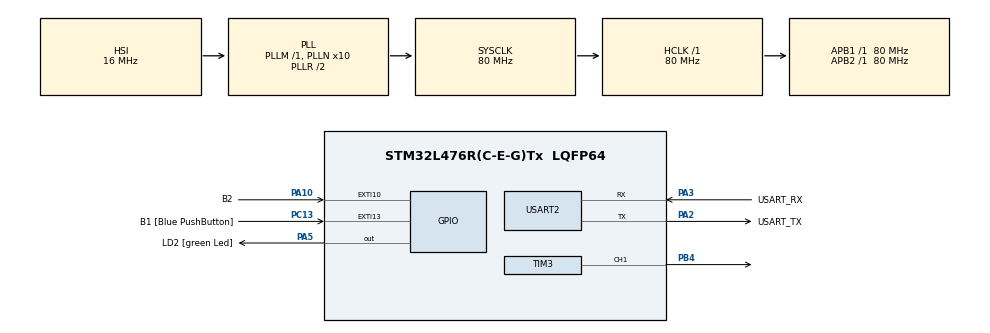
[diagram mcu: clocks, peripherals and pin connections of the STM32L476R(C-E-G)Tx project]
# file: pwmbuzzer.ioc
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Mcu.Family=STM32L4
Mcu.Name=STM32L476R(C-E-G)Tx
Mcu.Package=LQFP64
NVIC.EXTI15_10_IRQn=true\:0\:0\:false\:false\:true\:true\:true\:true
NVIC.PriorityGroup=NVIC_PRIORITYGROUP_4
NVIC.TIM6_DAC_IRQn=true\:0\:0\:false\:false\:true\:true\:true\:true
NVIC.USART2_IRQn=true\:0\:0\:false\:false\:true\:true\:true\:true
PA10.GPIO_Label=B2
PA10.Signal=GPXTI10
PA13\ (JTMS-SWDIO).GPIO_Label=TMS
PA13\ (JTMS-SWDIO).Mode=Serial_Wire
PA13\ (JTMS-SWDIO).Signal=SYS_JTMS-SWDIO
PA14\ (JTCK-SWCLK).GPIO_Label=TCK
PA14\ (JTCK-SWCLK).Mode=Serial_Wire
PA14\ (JTCK-SWCLK).Signal=SYS_JTCK-SWCLK
PA2.GPIO_Label=USART_TX
PA2.GPIO_Mode=GPIO_MODE_AF_PP
PA2.GPIO_PuPd=GPIO_NOPULL
PA2.GPIO_Speed=GPIO_SPEED_FREQ_VERY_HIGH
PA2.Mode=Asynchronous
PA2.Signal=USART2_TX
PA3.GPIO_Label=USART_RX
PA3.GPIO_Mode=GPIO_MODE_AF_PP
PA3.GPIO_PuPd=GPIO_NOPULL
PA3.GPIO_Speed=GPIO_SPEED_FREQ_VERY_HIGH
PA3.Mode=Asynchronous
PA3.Signal=USART2_RX
PA5.GPIO_Label=LD2 [green Led]
PA5.GPIO_ModeDefaultOutputPP=GPIO_MODE_OUTPUT_PP
PA5.GPIO_PuPd=GPIO_NOPULL
PA5.GPIO_Speed=GPIO_SPEED_FREQ_LOW
PA5.Signal=GPIO_Output
PB3\ (JTDO-TRACESWO).GPIO_Label=SWO
PB3\ (JTDO-TRACESWO).Signal=SYS_JTDO-SWO
PB4\ (NJTRST).Signal=S_TIM3_CH1
PC13.GPIO_Label=B1 [Blue PushButton]
PC13.GPIO_ModeDefaultEXTI=GPIO_MODE_IT_FALLING
PC13.GPIO_PuPd=GPIO_NOPULL
PC13.Signal=GPXTI13
PC14-OSC32_IN\ (PC14).Mode=LSE-External-Oscillator
PC14-OSC32_IN\ (PC14).Signal=RCC_OSC32_IN
PC15-OSC32_OUT\ (PC15).Mode=LSE-External-Oscillator
PC15-OSC32_OUT\ (PC15).Signal=RCC_OSC32_OUT
PH0-OSC_IN\ (PH0).Signal=RCC_OSC_IN
PH1-OSC_OUT\ (PH1).Signal=RCC_OSC_OUT
ProjectManager.HeapSize=0x200
ProjectManager.StackSize=0x400
ProjectManager.TargetToolchain=STM32CubeIDE
RCC.ADCFreq_Value=64000000
RCC.AHBFreq_Value=80000000
RCC.APB1Freq_Value=80000000
RCC.APB1TimFreq_Value=80000000
RCC.APB2Freq_Value=80000000
RCC.APB2TimFreq_Value=80000000
RCC.CortexFreq_Value=80000000
RCC.HCLKFreq_Value=80000000
RCC.HSE_VALUE=8000000
RCC.HSI_VALUE=16000000
RCC.MSI_VALUE=4000000
RCC.PLLN=10
RCC.PLLSourceVirtual=RCC_PLLSOURCE_HSI
RCC.PREFETCH_ENABLE=1
RCC.SYSCLKFreq_VALUE=80000000
RCC.SYSCLKSource=RCC_SYSCLKSOURCE_PLLCLK
RCC.USBFreq_Value=64000000
RCC.VCOOutputFreq_Value=160000000
SH.S_TIM3_CH1.0=TIM3_CH1,PWM Generation1 CH1
TIM3.Channel-PWM\ Generation1\ CH1=TIM_CHANNEL_1
TIM3.Period=100
TIM3.Prescaler=799
TIM3.Pulse-PWM\ Generation1\ CH1=50
TIM6.Period=4999
TIM6.Prescaler=7999
USART2.VirtualMode-Asynchronous=VM_ASYNC
VP_TIM6_VS_ClockSourceINT.Mode=Enable_Timer
board=NUCLEO-L476RG

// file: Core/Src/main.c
/* USER CODE BEGIN Header */
/**
  ******************************************************************************
  * @file           : main.c
  * @brief          : Main program body
  ******************************************************************************
  * @attention
  *
  * Copyright (c) 2022 STMicroelectronics.
  * All rights reserved.
  *
  * This software is licensed under terms that can be found in the LICENSE file
  * in the root directory of this software component.
  * If no LICENSE file comes with this software, it is provided AS-IS.
  *
  ******************************************************************************
  */
/* USER CODE END Header */
#include "main.h"

/* USER CODE BEGIN Includes */
#include <stdio.h>
#include <string.h>

/* USER CODE END Includes */

 TIM_HandleTypeDef htim3;
TIM_HandleTypeDef htim6;

UART_HandleTypeDef huart2;

void SystemClock_Config(void);
static void MX_GPIO_Init(void);
static void MX_USART2_UART_Init(void);
static void MX_TIM3_Init(void);
static void MX_TIM6_Init(void);

/* USER CODE BEGIN 0 */
////////////////////////////////////////////////////////////////////////
int _write(int fd, char* ptr, int len)
{
	HAL_UART_Transmit(&huart2, (uint8_t*)ptr, len, HAL_MAX_DELAY);
	return len;
}
//////////////////////////////////////////////////////////////////////
typedef enum StateButon_
{
	MUSIC_ON,
	MUSIC_OFF,

}StateButon;

StateButon stateMusic = MUSIC_OFF;

int note []={ 390, 340, 303, 286, 255, 227, 202};
int noteJonatan []= {255 , 303,  303,  286, 340, 340, 390, 340, 303, 286, 255, 255, 255, 255 , 303,  303,  286, 340, 340 ,390, 303, 255, 255,390};

int periodeJonatan[]={2499,2499,4999, 2499, 2499,4999,2499,2499,2499 ,2499,4999,2499,2499, 2499,2499,4999, 2499, 2499,4999,2499,2499,2499 ,4999};
int indexNote =0;

void HAL_GPIO_EXTI_Callback(uint16_t GPIO_Pin)
{
	if(stateMusic == MUSIC_OFF)
		{
		    stateMusic = MUSIC_ON;
		    indexNote=0;
		    HAL_TIM_Base_Start_IT(&htim6);
			HAL_TIM_Base_Start_IT(&htim3);
			HAL_TIM_PWM_Start_IT(&htim3, TIM_CHANNEL_1);

		}
		else
		{
			stateMusic = MUSIC_OFF;
			HAL_TIM_Base_Stop_IT(&htim6);
			HAL_TIM_Base_Stop_IT(&htim3);
			HAL_TIM_PWM_Stop_IT(&htim3, TIM_CHANNEL_1);
		}
}

void HAL_TIM_PeriodElapsedCallback(TIM_HandleTypeDef * htim)
{
		if(indexNote>22)
		{
			indexNote=0;
		}
        __HAL_TIM_SET_COUNTER(&htim3,0);
		__HAL_TIM_SET_AUTORELOAD(&htim3, noteJonatan[indexNote]);
		__HAL_TIM_SET_COMPARE(&htim3, TIM_CHANNEL_1, (noteJonatan[indexNote]/2));
		__HAL_TIM_SET_COUNTER(&htim6,0);
		__HAL_TIM_SET_AUTORELOAD(&htim6, periodeJonatan[indexNote]);
		indexNote++;

}

/* USER CODE END 0 */

int main(void)
{

  /* MCU Configuration--------------------------------------------------------*/

  /* Reset of all peripherals, Initializes the Flash interface and the Systick. */
  HAL_Init();

  /* Configure the system clock */
  SystemClock_Config();

  /* Initialize all configured peripherals */
  MX_GPIO_Init();
  MX_USART2_UART_Init();
  MX_TIM3_Init();
  MX_TIM6_Init();

  /* Infinite loop */
  while (1)
  {

  }
}

void SystemClock_Config(void)
{
  RCC_OscInitTypeDef RCC_OscInitStruct = {0};
  RCC_ClkInitTypeDef RCC_ClkInitStruct = {0};

  /** Configure the main internal regulator output voltage
  */
  if (HAL_PWREx_ControlVoltageScaling(PWR_REGULATOR_VOLTAGE_SCALE1) != HAL_OK)
  {
    Error_Handler();
  }

  /** Initializes the RCC Oscillators according to the specified parameters
  * in the RCC_OscInitTypeDef structure.
  */
  RCC_OscInitStruct.OscillatorType = RCC_OSCILLATORTYPE_HSI;
  RCC_OscInitStruct.HSIState = RCC_HSI_ON;
  RCC_OscInitStruct.HSICalibrationValue = RCC_HSICALIBRATION_DEFAULT;
  RCC_OscInitStruct.PLL.PLLState = RCC_PLL_ON;
  RCC_OscInitStruct.PLL.PLLSource = RCC_PLLSOURCE_HSI;
  RCC_OscInitStruct.PLL.PLLM = 1;
  RCC_OscInitStruct.PLL.PLLN = 10;
  RCC_OscInitStruct.PLL.PLLP = RCC_PLLP_DIV7;
  RCC_OscInitStruct.PLL.PLLQ = RCC_PLLQ_DIV2;
  RCC_OscInitStruct.PLL.PLLR = RCC_PLLR_DIV2;
  if (HAL_RCC_OscConfig(&RCC_OscInitStruct) != HAL_OK)
  {
    Error_Handler();
  }

  /** Initializes the CPU, AHB and APB buses clocks
  */
  RCC_ClkInitStruct.ClockType = RCC_CLOCKTYPE_HCLK|RCC_CLOCKTYPE_SYSCLK
                              |RCC_CLOCKTYPE_PCLK1|RCC_CLOCKTYPE_PCLK2;
  RCC_ClkInitStruct.SYSCLKSource = RCC_SYSCLKSOURCE_PLLCLK;
  RCC_ClkInitStruct.AHBCLKDivider = RCC_SYSCLK_DIV1;
  RCC_ClkInitStruct.APB1CLKDivider = RCC_HCLK_DIV1;
  RCC_ClkInitStruct.APB2CLKDivider = RCC_HCLK_DIV1;

  if (HAL_RCC_ClockConfig(&RCC_ClkInitStruct, FLASH_LATENCY_4) != HAL_OK)
  {
    Error_Handler();
  }
}

static void MX_TIM3_Init(void)
{

  TIM_MasterConfigTypeDef sMasterConfig = {0};
  TIM_OC_InitTypeDef sConfigOC = {0};

  htim3.Instance = TIM3;
  htim3.Init.Prescaler = 799;
  htim3.Init.CounterMode = TIM_COUNTERMODE_UP;
  htim3.Init.Period = 100;
  htim3.Init.ClockDivision = TIM_CLOCKDIVISION_DIV1;
  htim3.Init.AutoReloadPreload = TIM_AUTORELOAD_PRELOAD_DISABLE;
  if (HAL_TIM_PWM_Init(&htim3) != HAL_OK)
  {
    Error_Handler();
  }
  sMasterConfig.MasterOutputTrigger = TIM_TRGO_RESET;
  sMasterConfig.MasterSlaveMode = TIM_MASTERSLAVEMODE_DISABLE;
  if (HAL_TIMEx_MasterConfigSynchronization(&htim3, &sMasterConfig) != HAL_OK)
  {
    Error_Handler();
  }
  sConfigOC.OCMode = TIM_OCMODE_PWM1;
  sConfigOC.Pulse = 50;
  sConfigOC.OCPolarity = TIM_OCPOLARITY_HIGH;
  sConfigOC.OCFastMode = TIM_OCFAST_DISABLE;
  if (HAL_TIM_PWM_ConfigChannel(&htim3, &sConfigOC, TIM_CHANNEL_1) != HAL_OK)
  {
    Error_Handler();
  }
  HAL_TIM_MspPostInit(&htim3);

}

static void MX_TIM6_Init(void)
{

  TIM_MasterConfigTypeDef sMasterConfig = {0};

  htim6.Instance = TIM6;
  htim6.Init.Prescaler = 7999;
  htim6.Init.CounterMode = TIM_COUNTERMODE_UP;
  htim6.Init.Period = 4999;
  htim6.Init.AutoReloadPreload = TIM_AUTORELOAD_PRELOAD_DISABLE;
  if (HAL_TIM_Base_Init(&htim6) != HAL_OK)
  {
    Error_Handler();
  }
  sMasterConfig.MasterOutputTrigger = TIM_TRGO_RESET;
  sMasterConfig.MasterSlaveMode = TIM_MASTERSLAVEMODE_DISABLE;
  if (HAL_TIMEx_MasterConfigSynchronization(&htim6, &sMasterConfig) != HAL_OK)
  {
    Error_Handler();
  }

}

static void MX_USART2_UART_Init(void)
{

  huart2.Instance = USART2;
  huart2.Init.BaudRate = 115200;
  huart2.Init.WordLength = UART_WORDLENGTH_8B;
  huart2.Init.StopBits = UART_STOPBITS_1;
  huart2.Init.Parity = UART_PARITY_NONE;
  huart2.Init.Mode = UART_MODE_TX_RX;
  huart2.Init.HwFlowCtl = UART_HWCONTROL_NONE;
  huart2.Init.OverSampling = UART_OVERSAMPLING_16;
  huart2.Init.OneBitSampling = UART_ONE_BIT_SAMPLE_DISABLE;
  huart2.AdvancedInit.AdvFeatureInit = UART_ADVFEATURE_NO_INIT;
  if (HAL_UART_Init(&huart2) != HAL_OK)
  {
    Error_Handler();
  }

}

static void MX_GPIO_Init(void)
{
  GPIO_InitTypeDef GPIO_InitStruct = {0};

  /* GPIO Ports Clock Enable */
  __HAL_RCC_GPIOC_CLK_ENABLE();
  __HAL_RCC_GPIOH_CLK_ENABLE();
  __HAL_RCC_GPIOA_CLK_ENABLE();
  __HAL_RCC_GPIOB_CLK_ENABLE();

  /*Configure GPIO pin Output Level */
  HAL_GPIO_WritePin(LD2_GPIO_Port, LD2_Pin, GPIO_PIN_RESET);

  /*Configure GPIO pin : B1_Pin */
  GPIO_InitStruct.Pin = B1_Pin;
  GPIO_InitStruct.Mode = GPIO_MODE_IT_FALLING;
  GPIO_InitStruct.Pull = GPIO_NOPULL;
  HAL_GPIO_Init(B1_GPIO_Port, &GPIO_InitStruct);

  /*Configure GPIO pin : LD2_Pin */
  GPIO_InitStruct.Pin = LD2_Pin;
  GPIO_InitStruct.Mode = GPIO_MODE_OUTPUT_PP;
  GPIO_InitStruct.Pull = GPIO_NOPULL;
  GPIO_InitStruct.Speed = GPIO_SPEED_FREQ_LOW;
  HAL_GPIO_Init(LD2_GPIO_Port, &GPIO_InitStruct);

  /*Configure GPIO pin : B2_Pin */
  GPIO_InitStruct.Pin = B2_Pin;
  GPIO_InitStruct.Mode = GPIO_MODE_IT_RISING;
  GPIO_InitStruct.Pull = GPIO_NOPULL;
  HAL_GPIO_Init(B2_GPIO_Port, &GPIO_InitStruct);

  /* EXTI interrupt init*/
  HAL_NVIC_SetPriority(EXTI15_10_IRQn, 0, 0);
  HAL_NVIC_EnableIRQ(EXTI15_10_IRQn);

}

void Error_Handler(void)
{
  __disable_irq();
  while (1)
  {
  }
}
